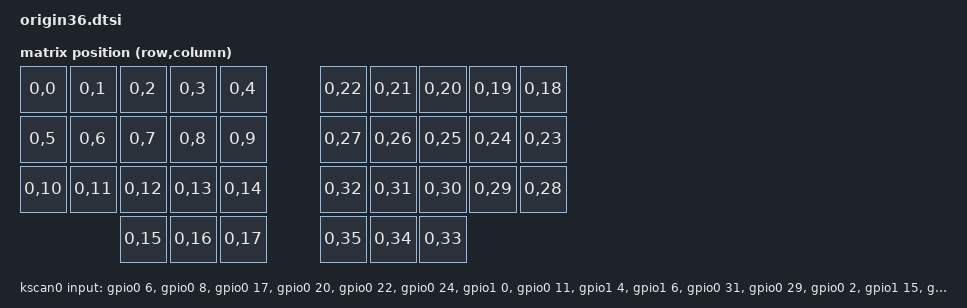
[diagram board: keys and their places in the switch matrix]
/*
 * Copyright (c) 2024 The ZMK Contributors
 * SPDX-License-Identifier: MIT
 */

#include <dt-bindings/zmk/matrix_transform.h>

/ {
    chosen {
        zmk,kscan = &kscan0;
        zmk,matrix-transform = &default_transform;
    };

    default_transform: matrix_transform {
        compatible = "zmk,matrix-transform";
        rows = <1>;
        columns = <36>;
        map = <
            RC(0,0)  RC(0,1)  RC(0,2)  RC(0,3)  RC(0,4)    RC(0,22) RC(0,21) RC(0,20) RC(0,19) RC(0,18)
            RC(0,5)  RC(0,6)  RC(0,7)  RC(0,8)  RC(0,9)    RC(0,27) RC(0,26) RC(0,25) RC(0,24) RC(0,23)
            RC(0,10) RC(0,11) RC(0,12) RC(0,13) RC(0,14)   RC(0,32) RC(0,31) RC(0,30) RC(0,29) RC(0,28)
                              RC(0,15) RC(0,16) RC(0,17)   RC(0,35) RC(0,34) RC(0,33)
        >;
    };

    kscan0: kscan {
        compatible = "zmk,kscan-gpio-direct";
        wakeup-source;
        input-gpios
            = <&gpio0 6  (GPIO_ACTIVE_LOW | GPIO_PULL_UP)> // 0:  Row 0, Col 0 (Q / P) -> Silk: 006 (pro_micro 1)
            , <&gpio0 8  (GPIO_ACTIVE_LOW | GPIO_PULL_UP)> // 1:  Row 0, Col 1 (W / O) -> Silk: 008 (pro_micro 0)
            , <&gpio0 17 (GPIO_ACTIVE_LOW | GPIO_PULL_UP)> // 2:  Row 0, Col 2 (E / I) -> Silk: 017 (pro_micro 2)
            , <&gpio0 20 (GPIO_ACTIVE_LOW | GPIO_PULL_UP)> // 3:  Row 0, Col 3 (R / U) -> Silk: 020 (pro_micro 3)
            , <&gpio0 22 (GPIO_ACTIVE_LOW | GPIO_PULL_UP)> // 4:  Row 0, Col 4 (T / Y) -> Silk: 022 (pro_micro 4)
            , <&gpio0 24 (GPIO_ACTIVE_LOW | GPIO_PULL_UP)> // 5:  Row 1, Col 0 (A / ;) -> Silk: 024 (pro_micro 5)
            , <&gpio1 0  (GPIO_ACTIVE_LOW | GPIO_PULL_UP)> // 6:  Row 1, Col 1 (S / L) -> Silk: 100 (pro_micro 6)
            , <&gpio0 11 (GPIO_ACTIVE_LOW | GPIO_PULL_UP)> // 7:  Row 1, Col 2 (D / K) -> Silk: 011 (pro_micro 7)
            , <&gpio1 4  (GPIO_ACTIVE_LOW | GPIO_PULL_UP)> // 8:  Row 1, Col 3 (F / J) -> Silk: 104 (pro_micro 8)
            , <&gpio1 6  (GPIO_ACTIVE_LOW | GPIO_PULL_UP)> // 9:  Row 1, Col 4 (G / H) -> Silk: 106 (pro_micro 9)
            , <&gpio0 31 (GPIO_ACTIVE_LOW | GPIO_PULL_UP)> // 10: Row 2, Col 0 (Z / /) -> Silk: 031 (pro_micro 21)
            , <&gpio0 29 (GPIO_ACTIVE_LOW | GPIO_PULL_UP)> // 11: Row 2, Col 1 (X / .) -> Silk: 029 (pro_micro 20)
            , <&gpio0 2  (GPIO_ACTIVE_LOW | GPIO_PULL_UP)> // 12: Row 2, Col 2 (C / ,) -> Silk: 002 (pro_micro 19)
            , <&gpio1 15 (GPIO_ACTIVE_LOW | GPIO_PULL_UP)> // 13: Row 2, Col 3 (V / M) -> Silk: 115 (pro_micro 18)
            , <&gpio1 13 (GPIO_ACTIVE_LOW | GPIO_PULL_UP)> // 14: Row 2, Col 4 (B / N) -> Silk: 113 (pro_micro 15)
            , <&gpio0 9  (GPIO_ACTIVE_LOW | GPIO_PULL_UP)> // 15: Thumb Outer          -> Silk: 009 (pro_micro 10)
            , <&gpio0 10 (GPIO_ACTIVE_LOW | GPIO_PULL_UP)> // 16: Thumb Mid            -> Silk: 010 (pro_micro 16)
            , <&gpio1 11 (GPIO_ACTIVE_LOW | GPIO_PULL_UP)> // 17: Thumb Inner          -> Silk: 111 (pro_micro 14)
            ;
    };
};
